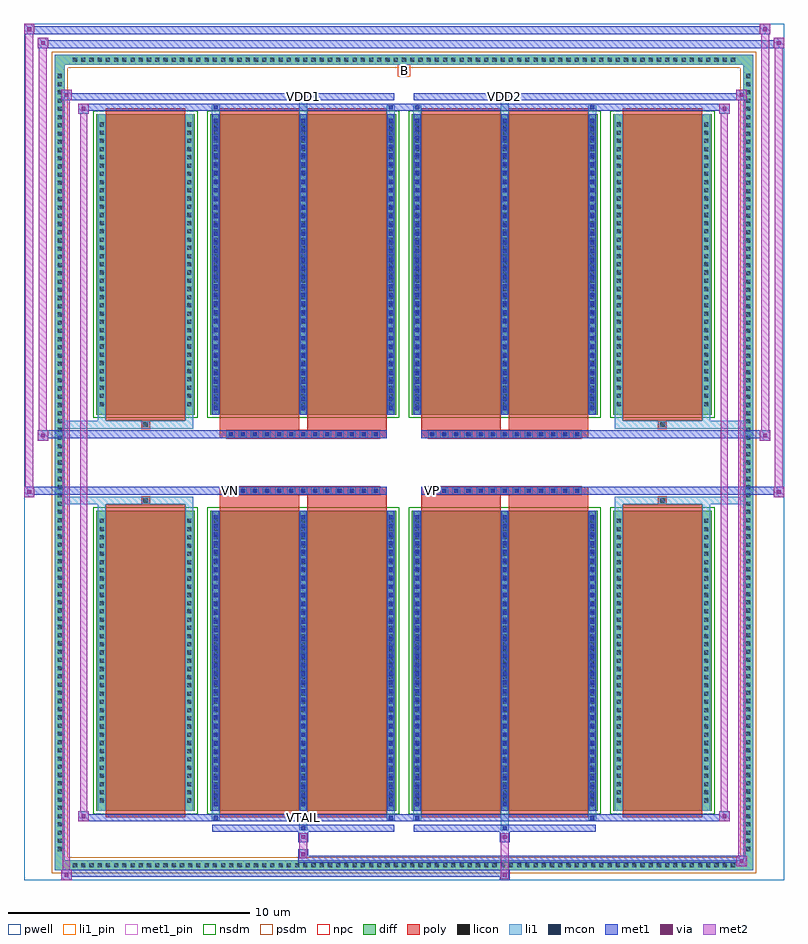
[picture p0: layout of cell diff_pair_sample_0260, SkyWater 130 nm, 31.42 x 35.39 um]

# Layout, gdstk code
import gdstk
lib = gdstk.Library(unit=1e-6, precision=5e-09)
def R(c, l, rs):  # rectangles x0, y0, x1, y1
    for r in rs: c.add(gdstk.rectangle(r[:2], r[2:], *l))
def A(c, l, x, y, w, h, nx, ny, dx, dy):  # array of equal rectangles
    R(c, l, [(x+i*dx, y+j*dy, x+i*dx+w, y+j*dy+h) for i in range(nx) for j in range(ny)])
def P(c, l, *ps):  # polygons
    for p in ps: c.add(gdstk.Polygon(p, *l))
pwell = (64, 44)
diff = (65, 20)
poly = (66, 20)
licon = (66, 44)
li1_pin = (67, 16)
li1 = (67, 20)
mcon = (67, 44)
met1_pin = (68, 16)
met1 = (68, 20)
via = (68, 44)
met2 = (69, 20)
nsdm = (93, 44)
psdm = (94, 20)
npc = (95, 20)

diff_pair_sample_0260 = lib.new_cell('diff_pair_sample_0260')
R(diff_pair_sample_0260, pwell, [(-15.71,-17.26,15.71,18.13), (-13.03,-15.45,-0.01,-0.805), (0.01,-15.45,13.03,-0.805), (-13.03,0.805,-0.01,15.45), (0.01,0.805,13.03,15.45)])
A(diff_pair_sample_0260, diff, -13.805, -16.86, 0.41, 0.41, 81, 2, 0.34, 33.31)
A(diff_pair_sample_0260, diff, -14.44, -16.185, 0.41, 0.41, 1, 95, 0, 0.34)
A(diff_pair_sample_0260, diff, 14.03, -16.185, 0.41, 0.41, 1, 95, 0, 0.34)
R(diff_pair_sample_0260, diff, [(-13.805,-16.86,13.805,-16.45), (-14.44,-16.185,-14.03,16.185), (14.03,-16.185,14.44,16.185), (-12.72,-14.405,-8.65,-1.985), (-8.01,-14.405,-0.32,-1.985), (0.32,-14.405,8.01,-1.985), (8.65,-14.405,12.72,-1.985), (-12.72,1.985,-8.65,14.405), (-8.01,1.985,-0.32,14.405), (0.32,1.985,8.01,14.405), (8.65,1.985,12.72,14.405), (-13.805,16.45,13.805,16.86)])
P(diff_pair_sample_0260, diff, [(14.44,16.86),(-14.44,16.86),(-14.44,-16.45),(-14.03,-16.45),(-14.03,16.45),(14.03,16.45),(14.03,-16.45),(-14.03,-16.45),(-14.44,-16.45),(-14.44,-16.86),(14.44,-16.86)])
A(diff_pair_sample_0260, poly, -7.33, -1.335, 0.33, 0.33, 13, 2, 0.5, 2.34)
A(diff_pair_sample_0260, poly, 1, -1.335, 0.33, 0.33, 13, 2, 0.5, 2.34)
R(diff_pair_sample_0260, poly, [(-12.33,-14.655,-9.04,-1.735), (-7.62,-14.655,-4.33,-1.735), (-4,-14.655,-0.71,-1.735), (0.71,-14.655,4,-1.735), (4.33,-14.655,7.62,-1.735), (9.04,-14.655,12.33,-1.735), (-10.85,-1.735,-10.52,-1.405), (-10.85,-1.735,-10.52,-1.405), (-7.62,-1.735,-4.33,-1.335), (-4,-1.735,-0.71,-1.335), (0.71,-1.735,4,-1.335), (4.33,-1.735,7.62,-1.335), (10.52,-1.735,10.85,-1.405), (10.52,-1.735,10.85,-1.405), (-7.62,-1.335,-0.71,-1.005), (0.71,-1.335,7.62,-1.005), (-7.62,1.005,-0.71,1.335), (0.71,1.005,7.62,1.335), (-7.62,1.335,-4.33,1.735), (-4,1.335,-0.71,1.735), (0.71,1.335,4,1.735), (4.33,1.335,7.62,1.735), (-10.85,1.405,-10.52,1.735), (-10.85,1.405,-10.52,1.735), (10.52,1.405,10.85,1.735), (10.52,1.405,10.85,1.735), (-12.33,1.735,-9.04,14.655), (-7.62,1.735,-4.33,14.655), (-4,1.735,-0.71,14.655), (0.71,1.735,4,14.655), (4.33,1.735,7.62,14.655), (9.04,1.735,12.33,14.655)])
A(diff_pair_sample_0260, licon, -13.685, -16.74, 0.17, 0.17, 81, 2, 0.34, 33.31)
A(diff_pair_sample_0260, licon, -14.32, -16.065, 0.17, 0.17, 1, 95, 0, 0.34)
A(diff_pair_sample_0260, licon, 14.15, -16.065, 0.17, 0.17, 1, 95, 0, 0.34)
A(diff_pair_sample_0260, licon, -12.58, -14.06, 0.17, 0.17, 1, 35, 0, 0.34)
A(diff_pair_sample_0260, licon, -8.96, -14.06, 0.17, 0.17, 1, 35, 0, 0.34)
A(diff_pair_sample_0260, licon, -7.87, -14.06, 0.17, 0.17, 3, 35, 3.62, 0.34)
A(diff_pair_sample_0260, licon, 0.46, -14.06, 0.17, 0.17, 3, 35, 3.62, 0.34)
A(diff_pair_sample_0260, licon, 8.79, -14.06, 0.17, 0.17, 1, 35, 0, 0.34)
A(diff_pair_sample_0260, licon, 12.41, -14.06, 0.17, 0.17, 1, 35, 0, 0.34)
A(diff_pair_sample_0260, licon, -7.25, -1.255, 0.17, 0.17, 13, 2, 0.5, 2.34)
A(diff_pair_sample_0260, licon, 1.08, -1.255, 0.17, 0.17, 13, 2, 0.5, 2.34)
A(diff_pair_sample_0260, licon, -12.58, 2.33, 0.17, 0.17, 1, 35, 0, 0.34)
A(diff_pair_sample_0260, licon, -8.96, 2.33, 0.17, 0.17, 1, 35, 0, 0.34)
A(diff_pair_sample_0260, licon, -7.87, 2.33, 0.17, 0.17, 3, 35, 3.62, 0.34)
A(diff_pair_sample_0260, licon, 0.46, 2.33, 0.17, 0.17, 3, 35, 3.62, 0.34)
A(diff_pair_sample_0260, licon, 8.79, 2.33, 0.17, 0.17, 1, 35, 0, 0.34)
A(diff_pair_sample_0260, licon, 12.41, 2.33, 0.17, 0.17, 1, 35, 0, 0.34)
R(diff_pair_sample_0260, licon, [(-10.77,-1.655,-10.6,-1.485), (10.6,-1.655,10.77,-1.485), (-10.77,1.485,-10.6,1.655), (10.6,1.485,10.77,1.655)])
R(diff_pair_sample_0260, li1_pin, [(-0.25,15.95,0.25,16.45)])
A(diff_pair_sample_0260, li1, -13.765, -16.82, 0.33, 0.33, 81, 2, 0.34, 33.31)
A(diff_pair_sample_0260, li1, -14.4, -16.145, 0.33, 0.33, 1, 95, 0, 0.34)
A(diff_pair_sample_0260, li1, 14.07, -16.145, 0.33, 0.33, 1, 95, 0, 0.34)
A(diff_pair_sample_0260, li1, -7.95, -14.405, 0.33, 12.42, 3, 2, 3.62, 16.39)
A(diff_pair_sample_0260, li1, 0.38, -14.405, 0.33, 12.42, 3, 2, 3.62, 16.39)
A(diff_pair_sample_0260, li1, -7.87, -14.22, 0.17, 0.17, 3, 34, 3.62, 0.36)
A(diff_pair_sample_0260, li1, -7.87, -14.22, 0.17, 12.05, 3, 2, 3.62, 16.39)
A(diff_pair_sample_0260, li1, 0.46, -14.22, 0.17, 0.17, 3, 34, 3.62, 0.36)
A(diff_pair_sample_0260, li1, 0.46, -14.22, 0.17, 12.05, 3, 2, 3.62, 16.39)
A(diff_pair_sample_0260, li1, -12.66, -14.14, 0.33, 0.33, 1, 35, 0, 0.34)
A(diff_pair_sample_0260, li1, -9.04, -14.14, 0.33, 0.33, 1, 35, 0, 0.34)
A(diff_pair_sample_0260, li1, -7.95, -14.14, 0.33, 0.33, 3, 35, 3.62, 0.34)
A(diff_pair_sample_0260, li1, 0.38, -14.14, 0.33, 0.33, 3, 35, 3.62, 0.34)
A(diff_pair_sample_0260, li1, 8.71, -14.14, 0.33, 0.33, 1, 35, 0, 0.34)
A(diff_pair_sample_0260, li1, 12.33, -14.14, 0.33, 0.33, 1, 35, 0, 0.34)
A(diff_pair_sample_0260, li1, -7.33, -1.335, 0.33, 0.33, 13, 2, 0.5, 2.34)
A(diff_pair_sample_0260, li1, 1, -1.335, 0.33, 0.33, 13, 2, 0.5, 2.34)
A(diff_pair_sample_0260, li1, -7.87, 2.17, 0.17, 0.17, 3, 34, 3.62, 0.36)
A(diff_pair_sample_0260, li1, 0.46, 2.17, 0.17, 0.17, 3, 34, 3.62, 0.36)
A(diff_pair_sample_0260, li1, -12.66, 2.25, 0.33, 0.33, 1, 35, 0, 0.34)
A(diff_pair_sample_0260, li1, -9.04, 2.25, 0.33, 0.33, 1, 35, 0, 0.34)
A(diff_pair_sample_0260, li1, -7.95, 2.25, 0.33, 0.33, 3, 35, 3.62, 0.34)
A(diff_pair_sample_0260, li1, 0.38, 2.25, 0.33, 0.33, 3, 35, 3.62, 0.34)
A(diff_pair_sample_0260, li1, 8.71, 2.25, 0.33, 0.33, 1, 35, 0, 0.34)
A(diff_pair_sample_0260, li1, 12.33, 2.25, 0.33, 0.33, 1, 35, 0, 0.34)
R(diff_pair_sample_0260, li1, [(-14.44,-16.86,-14.03,-16.45), (-14.44,-16.86,-14.03,-16.45), (-14.03,-16.86,14.03,-16.45), (14.03,-16.86,14.44,-16.45), (14.03,-16.86,14.44,-16.45), (-14.44,-16.45,-14.03,16.45), (14.03,-16.45,14.44,16.45), (-4.33,-15.21,-4,-14.405), (-4.25,-15.21,-4.08,-15.04), (4,-15.21,4.33,-14.405), (4.08,-15.21,4.25,-15.04), (-7.95,-14.78,-7.62,-14.405), (-7.87,-14.78,-7.7,-14.61), (-0.71,-14.78,-0.38,-14.405), (-0.63,-14.78,-0.46,-14.61), (0.38,-14.78,0.71,-14.405), (0.46,-14.78,0.63,-14.61), (7.62,-14.78,7.95,-14.405), (7.7,-14.78,7.87,-14.61), (-12.66,-14.405,-12.33,-1.985), (-9.04,-14.405,-8.71,-1.985), (8.71,-14.405,9.04,-1.985), (12.33,-14.405,12.66,-1.985), (-12.66,-1.985,-12.33,-1.405), (-9.04,-1.985,-8.71,-1.405), (8.71,-1.985,9.04,-1.405), (12.33,-1.985,12.66,-1.405), (-14.44,-1.735,-10.85,-1.405), (-12.66,-1.735,-10.85,-1.405), (-10.85,-1.735,-10.52,-1.405), (-10.52,-1.735,-8.71,-1.405), (8.71,-1.735,10.52,-1.405), (10.52,-1.735,10.85,-1.405), (10.52,-1.735,14.44,-1.405), (10.85,-1.735,12.66,-1.405), (-14.44,1.405,-10.85,1.735), (-12.66,1.405,-10.85,1.735), (-12.66,1.405,-12.33,1.985), (-10.85,1.405,-10.52,1.735), (-10.52,1.405,-8.71,1.735), (-9.04,1.405,-8.71,1.985), (8.71,1.405,10.52,1.735), (8.71,1.405,9.04,1.985), (10.52,1.405,10.85,1.735), (10.52,1.405,14.44,1.735), (10.85,1.405,12.66,1.735), (12.33,1.405,12.66,1.985), (-12.66,1.985,-12.33,14.405), (-9.04,1.985,-8.71,14.405), (8.71,1.985,9.04,14.405), (12.33,1.985,12.66,14.405), (-7.95,14.405,-7.62,14.78), (-4.33,14.405,-4,15.21), (-0.71,14.405,-0.38,14.78), (0.38,14.405,0.71,14.78), (4,14.405,4.33,15.21), (7.62,14.405,7.95,14.78), (-7.87,14.61,-7.7,14.78), (-0.63,14.61,-0.46,14.78), (0.46,14.61,0.63,14.78), (7.7,14.61,7.87,14.78), (-4.25,15.04,-4.08,15.21), (4.08,15.04,4.25,15.21), (-14.44,16.45,-14.03,16.86), (-14.44,16.45,-14.03,16.86), (-14.03,16.45,14.03,16.86), (14.03,16.45,14.44,16.86), (14.03,16.45,14.44,16.86)])
A(diff_pair_sample_0260, mcon, -7.87, -14.22, 0.17, 0.17, 3, 34, 3.62, 0.36)
A(diff_pair_sample_0260, mcon, 0.46, -14.22, 0.17, 0.17, 3, 34, 3.62, 0.36)
A(diff_pair_sample_0260, mcon, -7.25, -1.255, 0.17, 0.17, 13, 2, 0.5, 2.34)
A(diff_pair_sample_0260, mcon, 1.08, -1.255, 0.17, 0.17, 13, 2, 0.5, 2.34)
A(diff_pair_sample_0260, mcon, -7.87, 2.17, 0.17, 0.17, 3, 34, 3.62, 0.36)
A(diff_pair_sample_0260, mcon, 0.46, 2.17, 0.17, 0.17, 3, 34, 3.62, 0.36)
R(diff_pair_sample_0260, mcon, [(-4.25,-15.21,-4.08,-15.04), (4.08,-15.21,4.25,-15.04), (-7.87,-14.78,-7.7,-14.61), (-0.63,-14.78,-0.46,-14.61), (0.46,-14.78,0.63,-14.61), (7.7,-14.78,7.87,-14.61), (-7.87,14.61,-7.7,14.78), (-0.63,14.61,-0.46,14.78), (0.46,14.61,0.63,14.78), (7.7,14.61,7.87,14.78), (-4.25,15.04,-4.08,15.21), (4.08,15.04,4.25,15.21)])
R(diff_pair_sample_0260, met1_pin, [(-4.3,-14.82,-4.03,-14.55), (-7.3,-1.295,-7.03,-1.025), (1.03,-1.295,1.3,-1.025), (-4.3,15,-4.03,15.27), (4.03,15,4.3,15.27)])
A(diff_pair_sample_0260, met1, -7.93, -14.405, 0.29, 12.42, 3, 2, 3.62, 16.39)
A(diff_pair_sample_0260, met1, 0.4, -14.405, 0.29, 12.42, 3, 2, 3.62, 16.39)
A(diff_pair_sample_0260, met1, -7.93, -14.28, 0.29, 0.29, 3, 34, 3.62, 0.36)
A(diff_pair_sample_0260, met1, 0.4, -14.28, 0.29, 0.29, 3, 34, 3.62, 0.36)
A(diff_pair_sample_0260, met1, -7.31, -1.315, 0.29, 0.29, 13, 2, 0.5, 2.34)
A(diff_pair_sample_0260, met1, 1.02, -1.315, 0.29, 0.29, 13, 2, 0.5, 2.34)
A(diff_pair_sample_0260, met1, -7.93, 2.11, 0.29, 0.29, 3, 34, 3.62, 0.36)
A(diff_pair_sample_0260, met1, 0.4, 2.11, 0.29, 0.29, 3, 34, 3.62, 0.36)
R(diff_pair_sample_0260, met1, [(-14.17,-17.26,-13.74,-16.83), (3.95,-17.26,4.38,-16.83), (-14.17,-17.12,4.38,-16.83), (13.74,-16.69,14.17,-16.26), (-4.38,-16.55,14.17,-16.26), (-4.38,-16.41,-3.95,-15.98), (-4.38,-15.7,-3.95,-15.27), (3.95,-15.7,4.38,-15.27), (-7.93,-15.27,-0.4,-14.98), (-4.31,-15.27,-4.02,-14.98), (0.4,-15.27,7.93,-14.98), (4.02,-15.27,4.31,-14.98), (-13.46,-14.84,-13.03,-14.41), (-13.46,-14.84,-7.93,-14.55), (-7.93,-14.84,-7.64,-14.55), (-7.93,-14.84,-0.4,-14.55), (-0.69,-14.84,-0.4,-14.55), (-0.4,-14.84,0.4,-14.55), (0.4,-14.84,0.69,-14.55), (0.4,-14.84,7.93,-14.55), (7.64,-14.84,7.93,-14.55), (7.93,-14.84,13.46,-14.55), (13.03,-14.84,13.46,-14.41), (-15.71,-1.435,-15.28,-1.005), (15.28,-1.435,15.71,-1.005), (-15.71,-1.335,-0.71,-1.005), (-7.62,-1.335,-0.71,-1.005), (0.71,-1.335,7.62,-1.005), (0.71,-1.335,15.71,-1.005), (-15.14,0.905,-14.71,1.335), (14.71,0.905,15.14,1.335), (-15.14,1.005,-7.62,1.335), (-7.62,1.005,-0.71,1.335), (0.71,1.005,7.62,1.335), (7.62,1.005,15.14,1.335), (-13.46,14.41,-13.03,14.84), (13.03,14.41,13.46,14.84), (-13.46,14.55,-7.93,14.84), (-7.93,14.55,-7.64,14.84), (-7.93,14.55,-0.4,14.84), (-0.69,14.55,-0.4,14.84), (-0.4,14.55,0.4,14.84), (0.4,14.55,0.69,14.84), (0.4,14.55,7.93,14.84), (7.64,14.55,7.93,14.84), (7.93,14.55,13.46,14.84), (-14.17,14.98,-13.74,15.41), (-14.17,14.98,-7.93,15.27), (-7.93,14.98,-0.4,15.27), (-4.31,14.98,-4.02,15.27), (0.4,14.98,7.93,15.27), (4.02,14.98,4.31,15.27), (7.93,14.98,14.17,15.27), (13.74,14.98,14.17,15.41), (-15.14,17.13,-14.71,17.56), (-15.14,17.13,-13.03,17.46), (-13.03,17.13,13.03,17.46), (13.03,17.13,15.71,17.46), (15.28,17.13,15.71,17.56), (-15.71,17.7,-15.28,18.13), (-15.71,17.7,-13.03,18.03), (-13.03,17.7,13.03,18.03), (13.03,17.7,15.14,18.03), (14.71,17.7,15.14,18.13)])
R(diff_pair_sample_0260, via, [(-14.03,-17.12,-13.88,-16.97), (4.09,-17.12,4.24,-16.97), (13.88,-16.55,14.03,-16.4), (-4.24,-16.27,-4.09,-16.12), (-4.24,-15.56,-4.09,-15.41), (4.09,-15.56,4.24,-15.41), (-13.32,-14.7,-13.17,-14.55), (13.17,-14.7,13.32,-14.55), (-15.57,-1.295,-15.42,-1.145), (15.42,-1.295,15.57,-1.145), (-15,1.045,-14.85,1.195), (14.85,1.045,15,1.195), (-13.32,14.55,-13.17,14.7), (13.17,14.55,13.32,14.7), (-14.03,15.12,-13.88,15.27), (13.88,15.12,14.03,15.27), (-15,17.27,-14.85,17.42), (15.42,17.27,15.57,17.42), (-15.57,17.84,-15.42,17.99), (14.85,17.84,15,17.99)])
R(diff_pair_sample_0260, met2, [(-14.17,-17.26,-13.74,-16.83), (-14.1,-17.26,-13.81,15.41), (-13.81,-17.26,-13.74,-16.83), (-14.12,-17.21,-13.79,-16.88), (4,-17.21,4.33,-16.88), (4,-16.88,4.33,-15.65), (13.74,-16.69,14.17,-16.26), (13.81,-16.69,14.1,15.41), (14.1,-16.69,14.17,-16.26), (13.79,-16.64,14.12,-16.31), (-4.33,-16.36,-4,-16.03), (-4.33,-16.03,-4,-15.65), (-4.33,-15.65,-4,-15.32), (4,-15.65,4.33,-15.32), (-13.46,-14.84,-13.03,-14.41), (-13.39,-14.84,-13.1,14.84), (-13.1,-14.84,-13.03,-14.41), (13.03,-14.84,13.46,-14.41), (13.1,-14.84,13.39,14.84), (13.39,-14.84,13.46,-14.41), (-13.41,-14.79,-13.08,-14.46), (13.08,-14.79,13.41,-14.46), (-15.71,-1.435,-15.28,-1.005), (-15.66,-1.435,-15.33,18.13), (-15.33,-1.435,-15.28,-1.005), (15.28,-1.435,15.71,-1.005), (15.33,-1.435,15.66,17.56), (15.66,-1.435,15.71,-1.005), (-15.66,-1.385,-15.33,-1.055), (15.33,-1.385,15.66,-1.055), (-15.14,0.905,-14.71,1.335), (-15.09,0.905,-14.76,17.56), (-14.76,0.905,-14.71,1.335), (14.71,0.905,15.14,1.335), (14.76,0.905,15.09,18.13), (15.09,0.905,15.14,1.335), (-15.09,0.955,-14.76,1.285), (14.76,0.955,15.09,1.285), (-13.46,14.41,-13.03,14.84), (-13.1,14.41,-13.03,14.84), (13.03,14.41,13.46,14.84), (13.39,14.41,13.46,14.84), (-13.41,14.46,-13.08,14.79), (13.08,14.46,13.41,14.79), (-14.17,14.98,-13.74,15.41), (-13.81,14.98,-13.74,15.41), (13.74,14.98,14.17,15.41), (14.1,14.98,14.17,15.41), (-14.12,15.03,-13.79,15.36), (13.79,15.03,14.12,15.36), (-15.14,17.13,-14.71,17.56), (-14.76,17.13,-14.71,17.56), (15.28,17.13,15.71,17.56), (15.66,17.13,15.71,17.56), (-15.09,17.18,-14.76,17.51), (15.33,17.18,15.66,17.51), (-15.71,17.7,-15.28,18.13), (-15.33,17.7,-15.28,18.13), (14.71,17.7,15.14,18.13), (15.09,17.7,15.14,18.13), (-15.66,17.75,-15.33,18.08), (14.76,17.75,15.09,18.08)])
R(diff_pair_sample_0260, nsdm, [(-12.85,-14.535,-8.52,-1.855), (-8.14,-14.535,-0.19,-1.855), (0.19,-14.535,8.14,-1.855), (8.52,-14.535,12.85,-1.855), (-12.85,1.855,-8.52,14.535), (-8.14,1.855,-0.19,14.535), (0.19,1.855,8.14,14.535), (8.52,1.855,12.85,14.535)])
P(diff_pair_sample_0260, psdm, [(14.57,16.99),(-14.57,16.99),(-14.57,-16.32),(-13.9,-16.32),(-13.9,16.32),(13.9,16.32),(13.9,-16.32),(-13.9,-16.32),(-14.57,-16.32),(-14.57,-16.99),(14.57,-16.99)])
A(diff_pair_sample_0260, npc, -7.35, -1.355, 0.37, 0.37, 13, 2, 0.5, 2.34)
A(diff_pair_sample_0260, npc, 0.98, -1.355, 0.37, 0.37, 13, 2, 0.5, 2.34)
R(diff_pair_sample_0260, npc, [(-10.87,-1.755,-10.5,-1.385), (10.5,-1.755,10.87,-1.385), (-7.35,-1.355,-6.48,-0.985), (-7.35,-1.355,-6.48,-0.985), (-6.85,-1.355,-5.98,-0.985), (-6.85,-1.355,-5.98,-0.985), (-6.35,-1.355,-5.48,-0.985), (-6.35,-1.355,-5.48,-0.985), (-5.85,-1.355,-4.98,-0.985), (-5.85,-1.355,-4.98,-0.985), (-5.35,-1.355,-4.48,-0.985), (-5.35,-1.355,-4.48,-0.985), (-4.85,-1.355,-3.98,-0.985), (-4.85,-1.355,-3.98,-0.985), (-4.35,-1.355,-3.48,-0.985), (-4.35,-1.355,-3.48,-0.985), (-3.85,-1.355,-2.98,-0.985), (-3.85,-1.355,-2.98,-0.985), (-3.35,-1.355,-2.48,-0.985), (-3.35,-1.355,-2.48,-0.985), (-2.85,-1.355,-1.98,-0.985), (-2.85,-1.355,-1.98,-0.985), (-2.35,-1.355,-1.48,-0.985), (-2.35,-1.355,-1.48,-0.985), (-1.85,-1.355,-0.98,-0.985), (-1.85,-1.355,-0.98,-0.985), (0.98,-1.355,1.85,-0.985), (0.98,-1.355,1.85,-0.985), (1.48,-1.355,2.35,-0.985), (1.48,-1.355,2.35,-0.985), (1.98,-1.355,2.85,-0.985), (1.98,-1.355,2.85,-0.985), (2.48,-1.355,3.35,-0.985), (2.48,-1.355,3.35,-0.985), (2.98,-1.355,3.85,-0.985), (2.98,-1.355,3.85,-0.985), (3.48,-1.355,4.35,-0.985), (3.48,-1.355,4.35,-0.985), (3.98,-1.355,4.85,-0.985), (3.98,-1.355,4.85,-0.985), (4.48,-1.355,5.35,-0.985), (4.48,-1.355,5.35,-0.985), (4.98,-1.355,5.85,-0.985), (4.98,-1.355,5.85,-0.985), (5.48,-1.355,6.35,-0.985), (5.48,-1.355,6.35,-0.985), (5.98,-1.355,6.85,-0.985), (5.98,-1.355,6.85,-0.985), (6.48,-1.355,7.35,-0.985), (6.48,-1.355,7.35,-0.985), (-7.35,0.985,-6.48,1.355), (-7.35,0.985,-6.48,1.355), (-6.85,0.985,-5.98,1.355), (-6.85,0.985,-5.98,1.355), (-6.35,0.985,-5.48,1.355), (-6.35,0.985,-5.48,1.355), (-5.85,0.985,-4.98,1.355), (-5.85,0.985,-4.98,1.355), (-5.35,0.985,-4.48,1.355), (-5.35,0.985,-4.48,1.355), (-4.85,0.985,-3.98,1.355), (-4.85,0.985,-3.98,1.355), (-4.35,0.985,-3.48,1.355), (-4.35,0.985,-3.48,1.355), (-3.85,0.985,-2.98,1.355), (-3.85,0.985,-2.98,1.355), (-3.35,0.985,-2.48,1.355), (-3.35,0.985,-2.48,1.355), (-2.85,0.985,-1.98,1.355), (-2.85,0.985,-1.98,1.355), (-2.35,0.985,-1.48,1.355), (-2.35,0.985,-1.48,1.355), (-1.85,0.985,-0.98,1.355), (-1.85,0.985,-0.98,1.355), (0.98,0.985,1.85,1.355), (0.98,0.985,1.85,1.355), (1.48,0.985,2.35,1.355), (1.48,0.985,2.35,1.355), (1.98,0.985,2.85,1.355), (1.98,0.985,2.85,1.355), (2.48,0.985,3.35,1.355), (2.48,0.985,3.35,1.355), (2.98,0.985,3.85,1.355), (2.98,0.985,3.85,1.355), (3.48,0.985,4.35,1.355), (3.48,0.985,4.35,1.355), (3.98,0.985,4.85,1.355), (3.98,0.985,4.85,1.355), (4.48,0.985,5.35,1.355), (4.48,0.985,5.35,1.355), (4.98,0.985,5.85,1.355), (4.98,0.985,5.85,1.355), (5.48,0.985,6.35,1.355), (5.48,0.985,6.35,1.355), (5.98,0.985,6.85,1.355), (5.98,0.985,6.85,1.355), (6.48,0.985,7.35,1.355), (6.48,0.985,7.35,1.355), (-10.87,1.385,-10.5,1.755), (10.5,1.385,10.87,1.755)])
diff_pair_sample_0260.add(gdstk.Label('VTAIL', (-4.165,-14.685), layer=68, texttype=5))
diff_pair_sample_0260.add(gdstk.Label('VN', (-7.165,-1.16), layer=68, texttype=5))
diff_pair_sample_0260.add(gdstk.Label('VP', (1.165,-1.16), layer=68, texttype=5))
diff_pair_sample_0260.add(gdstk.Label('B', (0,16.2), layer=67, texttype=5))
diff_pair_sample_0260.add(gdstk.Label('VDD2', (4.165,15.135), layer=68, texttype=5))
diff_pair_sample_0260.add(gdstk.Label('VDD1', (-4.165,15.135), layer=68, texttype=5))

lib.write_gds('diff_pair_sample_0260.gds')
